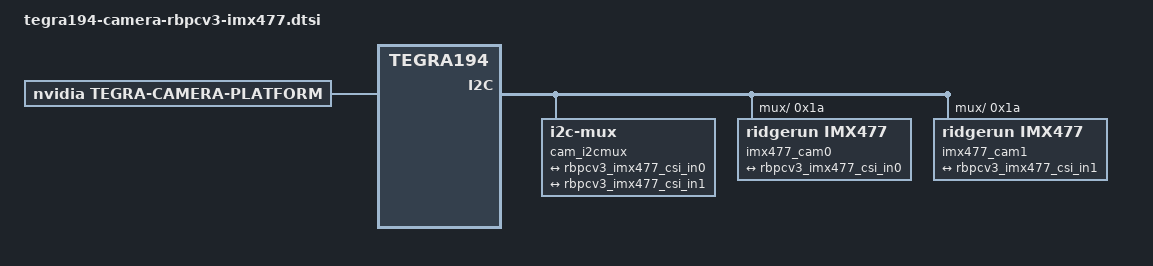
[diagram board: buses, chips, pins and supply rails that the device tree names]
/*
 * Copyright (c) 2021, NVIDIA CORPORATION.  All rights reserved.
 *
 * This program is free software; you can redistribute it and/or modify
 * it under the terms of the GNU General Public License as published by
 * the Free Software Foundation; either version 2 of the License, or
 * (at your option) any later version.
 *
 * This program is distributed in the hope that it will be useful, but WITHOUT
 * ANY WARRANTY; without even the implied warranty of MERCHANTABILITY or
 * FITNESS FOR A PARTICULAR PURPOSE.  See the GNU General Public License for
 * more details.
 *
 * You should have received a copy of the GNU General Public License
 * along with this program.  If not, see <http://www.gnu.org/licenses/>.
 */

/ {
	host1x {
		vi@15c10000 {
			num-channels = <2>;
			ports {
				#address-cells = <1>;
				#size-cells = <0>;
				port@0 {
					reg = <0>;
					rbpcv3_imx477_vi_in0: endpoint {
						port-index = <0>;
						bus-width = <2>;
						remote-endpoint = <&rbpcv3_imx477_csi_out0>;
					};
				};
				port@1 {
					reg = <1>;
					rbpcv3_imx477_vi_in1: endpoint {
						port-index = <4>;
						bus-width = <2>;
						remote-endpoint = <&rbpcv3_imx477_csi_out1>;
					};
				};
			};
		};

		nvcsi@15a00000 {
			num-channels = <2>;
			#address-cells = <1>;
			#size-cells = <0>;
			channel@0 {
				reg = <0>;
				ports {
					#address-cells = <1>;
					#size-cells = <0>;
					port@0 {
						reg = <0>;
						rbpcv3_imx477_csi_in0: endpoint@0 {
							port-index = <0>;
							bus-width = <2>;
							remote-endpoint = <&rbpcv3_imx477_dual_out0>;
						};
					};
					port@1 {
						reg = <1>;
						rbpcv3_imx477_csi_out0: endpoint@1 {
							remote-endpoint = <&rbpcv3_imx477_vi_in0>;
						};
					};
				};
			};
			channel@1 {
				reg = <1>;
				ports {
					#address-cells = <1>;
					#size-cells = <0>;
					port@2 {
						reg = <0>;
						rbpcv3_imx477_csi_in1: endpoint@2 {
							port-index = <2>;
							bus-width = <2>;
							remote-endpoint = <&rbpcv3_imx477_out1>;
						};
					};
					port@3 {
						reg = <1>;
						rbpcv3_imx477_csi_out1: endpoint@3 {
							remote-endpoint = <&rbpcv3_imx477_vi_in1>;
						};
					};
				};
			};
		};
	};

	cam_i2cmux {
		i2c@0 {
			imx477_cam0: rbpcv3_imx477_a@1a {
				compatible = "ridgerun,imx477";
				/* I2C device address */
				reg = <0x1a>;

				/* V4L2 device node location */
				devnode = "video0";

				/* Physical dimensions of sensor */
				physical_w = "3.680";
				physical_h = "2.760";

				sensor_model = "imx477";

				use_sensor_mode_id = "true";

				/**
				* ==== Modes ====
				* A modeX node is required to support v4l2 driver
				* implementation with NVIDIA camera software stack
				*
				* == Signal properties ==
				*
				* phy_mode = "";
				* PHY mode used by the MIPI lanes for this device
				*
				* tegra_sinterface = "";
				* CSI Serial interface connected to tegra
				* Incase of virtual HW devices, use virtual
				* For SW emulated devices, use host
				*
				* pix_clk_hz = "";
				* Sensor pixel clock used for calculations like exposure and framerate
				*
				* readout_orientation = "0";
				* Based on camera module orientation.
				* Only change readout_orientation if you specifically
				* Program a different readout order for this mode
				*
				* == Image format Properties ==
				*
				* active_w = "";
				* Pixel active region width
				*
				* active_h = "";
				* Pixel active region height
				*
				* pixel_t = "";
				* The sensor readout pixel pattern
				*
				* line_length = "";
				* Pixel line length (width) for sensor mode.
				*
				* == Source Control Settings ==
				*
				* Gain factor used to convert fixed point integer to float
				* Gain range [min_gain/gain_factor, max_gain/gain_factor]
				* Gain step [step_gain/gain_factor is the smallest step that can be configured]
				* Default gain [Default gain to be initialized for the control.
				*     use min_gain_val as default for optimal results]
				* Framerate factor used to convert fixed point integer to float
				* Framerate range [min_framerate/framerate_factor, max_framerate/framerate_factor]
				* Framerate step [step_framerate/framerate_factor is the smallest step that can be configured]
				* Default Framerate [Default framerate to be initialized for the control.
				*     use max_framerate to get required performance]
				* Exposure factor used to convert fixed point integer to float
				* For convenience use 1 sec = 1000000us as conversion factor
				* Exposure range [min_exp_time/exposure_factor, max_exp_time/exposure_factor]
				* Exposure step [step_exp_time/exposure_factor is the smallest step that can be configured]
				* Default Exposure Time [Default exposure to be initialized for the control.
				*     Set default exposure based on the default_framerate for optimal exposure settings]
				*
				* gain_factor = ""; (integer factor used for floating to fixed point conversion)
				* min_gain_val = ""; (ceil to integer)
				* max_gain_val = ""; (ceil to integer)
				* step_gain_val = ""; (ceil to integer)
				* default_gain = ""; (ceil to integer)
				* Gain limits for mode
				*
				* exposure_factor = ""; (integer factor used for floating to fixed point conversion)
				* min_exp_time = ""; (ceil to integer)
				* max_exp_time = ""; (ceil to integer)
				* step_exp_time = ""; (ceil to integer)
				* default_exp_time = ""; (ceil to integer)
				* Exposure Time limits for mode (sec)
				*
				* framerate_factor = ""; (integer factor used for floating to fixed point conversion)
				* min_framerate = ""; (ceil to integer)
				* max_framerate = ""; (ceil to integer)
				* step_framerate = ""; (ceil to integer)
				* default_framerate = ""; (ceil to integer)
				* Framerate limits for mode (fps)
				*
				* embedded_metadata_height = "";
				* Sensor embedded metadata height in units of rows.
				* If sensor does not support embedded metadata value should be 0.
				*/
				mode0 { /* IMX477_MODE_3840x2160 */
					mclk_khz = "24000";
					num_lanes = "2";
					tegra_sinterface = "serial_a";
					phy_mode = "DPHY";
					discontinuous_clk = "no";
					dpcm_enable = "false";
					cil_settletime = "0";

					active_w = "3840";
					active_h = "2160";
					mode_type = "bayer";
					pixel_phase = "rggb";
					csi_pixel_bit_depth = "10";
					readout_orientation = "90";
					line_length = "11200";
					inherent_gain = "1";
					mclk_multiplier = "80";
					pix_clk_hz = "840000000";

					gain_factor = "16";
					framerate_factor = "1000000";
					exposure_factor = "1000000";
					min_gain_val = "16"; /* 1.00x */
					max_gain_val = "356"; /* 22x */
					step_gain_val = "1";
					default_gain = "16"; /* 1.00x */
					min_hdr_ratio = "1";
					max_hdr_ratio = "1";
					min_framerate = "2000000"; /* 2.0 fps */
					max_framerate = "30000000"; /* 30.0 fps */
					step_framerate = "1";
					default_framerate = "30000000"; /* 30.0 fps */
					min_exp_time = "13"; /* us */
					max_exp_time = "683709"; /* us */
					step_exp_time = "1";
					default_exp_time = "2495"; /* us */

					embedded_metadata_height = "2";
				};
				mode1 { /* IMX477_MODE_1920X1080 */
					mclk_khz = "24000";
					num_lanes = "2";
					tegra_sinterface = "serial_a";
					phy_mode = "DPHY";
					discontinuous_clk = "no";
					dpcm_enable = "false";
					cil_settletime = "0";

					active_w = "1920";
					active_h = "1080";
					mode_type = "bayer";
					pixel_phase = "rggb";
					csi_pixel_bit_depth = "10";
					readout_orientation = "90";
					line_length = "7000";
					inherent_gain = "1";
					mclk_multiplier = "80";
					pix_clk_hz = "840000000";

					gain_factor = "16";
					framerate_factor = "1000000";
					exposure_factor = "1000000";
					min_gain_val = "16"; /* 1.00x */
					max_gain_val = "356"; /* 22x */
					step_gain_val = "1";
					default_gain = "16"; /* 1.00x */
					min_hdr_ratio = "1";
					max_hdr_ratio = "1";
					min_framerate = "2000000"; /* 2.0 fps */
					max_framerate = "60000000"; /* 60.0 fps */
					step_framerate = "1";
					default_framerate = "60000000"; /* 60.0 fps */
					min_exp_time = "13"; /* us */
					max_exp_time = "683709"; /* us */
					step_exp_time = "1";
					default_exp_time = "2495"; /* us */

					embedded_metadata_height = "2";
				};

				ports {
					#address-cells = <1>;
					#size-cells = <0>;

					port@0 {
						reg = <0>;
						rbpcv3_imx477_dual_out0: endpoint {
							port-index = <0>;
							bus-width = <2>;
							remote-endpoint = <&rbpcv3_imx477_csi_in0>;
						};
					};
				};
			};
		};
		i2c@1 {
			imx477_cam1: rbpcv3_imx477_c@1a {
				compatible = "ridgerun,imx477";
				/* I2C device address */
				reg = <0x1a>;

				/* V4L2 device node location */
				devnode = "video1";

				/* Physical dimensions of sensor */
				physical_w = "3.680";
				physical_h = "2.760";

				sensor_model = "imx477";

				use_sensor_mode_id = "true";

				mode0 { /* IMX477_MODE_3840x2160 */
					mclk_khz = "24000";
					num_lanes = "2";
					tegra_sinterface = "serial_c";
					phy_mode = "DPHY";
					discontinuous_clk = "no";
					dpcm_enable = "false";
					cil_settletime = "0";

					active_w = "3840";
					active_h = "2160";
					mode_type = "bayer";
					pixel_phase = "rggb";
					csi_pixel_bit_depth = "10";
					readout_orientation = "90";
					line_length = "11200";
					inherent_gain = "1";
					mclk_multiplier = "80";
					pix_clk_hz = "840000000";

					gain_factor = "16";
					framerate_factor = "1000000";
					exposure_factor = "1000000";
					min_gain_val = "16"; /* 1.00x */
					max_gain_val = "356"; /* 22x */
					step_gain_val = "1";
					default_gain = "16"; /* 1.00x */
					min_hdr_ratio = "1";
					max_hdr_ratio = "1";
					min_framerate = "2000000"; /* 2.0 fps */
					max_framerate = "30000000"; /* 30.0 fps */
					step_framerate = "1";
					default_framerate = "30000000"; /* 30.0 fps */
					min_exp_time = "13"; /* us */
					max_exp_time = "683709"; /* us */
					step_exp_time = "1";
					default_exp_time = "2495"; /* us */

					embedded_metadata_height = "2";
				};
				mode1 { /* IMX477_MODE_1920X1080 */
					mclk_khz = "24000";
					num_lanes = "2";
					tegra_sinterface = "serial_c";
					phy_mode = "DPHY";
					discontinuous_clk = "no";
					dpcm_enable = "false";
					cil_settletime = "0";

					active_w = "1920";
					active_h = "1080";
					mode_type = "bayer";
					pixel_phase = "rggb";
					csi_pixel_bit_depth = "10";
					readout_orientation = "90";
					line_length = "7000";
					inherent_gain = "1";
					mclk_multiplier = "80";
					pix_clk_hz = "840000000";

					gain_factor = "16";
					framerate_factor = "1000000";
					exposure_factor = "1000000";
					min_gain_val = "16"; /* 1.00x */
					max_gain_val = "356"; /* 22x */
					step_gain_val = "1";
					default_gain = "16"; /* 1.00x */
					min_hdr_ratio = "1";
					max_hdr_ratio = "1";
					min_framerate = "2000000"; /* 2.0 fps */
					max_framerate = "60000000"; /* 60.0 fps */
					step_framerate = "1";
					default_framerate = "60000000"; /* 60.0 fps */
					min_exp_time = "13"; /* us */
					max_exp_time = "683709"; /* us */
					step_exp_time = "1";
					default_exp_time = "2495"; /* us */

					embedded_metadata_height = "2";
				};

				ports {
					#address-cells = <1>;
					#size-cells = <0>;

					port@0 {
						reg = <0>;
						rbpcv3_imx477_out1: endpoint {
							port-index = <2>;
							bus-width = <2>;
							remote-endpoint = <&rbpcv3_imx477_csi_in1>;
						};
					};
				};
			};
		};
	};
};

/ {
	tegra-camera-platform {
		compatible = "nvidia, tegra-camera-platform";

		/**
		* Physical settings to calculate max ISO BW
		*
		* num_csi_lanes = <>;
		* Total number of CSI lanes when all cameras are active
		*
		* max_lane_speed = <>;
		* Max lane speed in Kbit/s
		*
		* min_bits_per_pixel = <>;
		* Min bits per pixel
		*
		* vi_peak_byte_per_pixel = <>;
		* Max byte per pixel for the VI ISO case
		*
		* vi_bw_margin_pct = <>;
		* Vi bandwidth margin in percentage
		*
		* max_pixel_rate = <>;
		* Max pixel rate in Kpixel/s for the ISP ISO case
		*
		* isp_peak_byte_per_pixel = <>;
		* Max byte per pixel for the ISP ISO case
		*
		* isp_bw_margin_pct = <>;
		* Isp bandwidth margin in percentage
		*/
		num_csi_lanes = <4>;
		max_lane_speed = <1500000>;
		min_bits_per_pixel = <10>;
		vi_peak_byte_per_pixel = <2>;
		vi_bw_margin_pct = <25>;
		max_pixel_rate = <7500000>;
		isp_peak_byte_per_pixel = <5>;
		isp_bw_margin_pct = <25>;

		/**
		 * The general guideline for naming badge_info contains 3 parts, and is as follows,
		 * The first part is the camera_board_id for the module; if the module is in a FFD
		 * platform, then use the platform name for this part.
		 * The second part contains the position of the module, ex. "rear" or "front".
		 * The third part contains the last 6 characters of a part number which is found
		 * in the module's specsheet from the vendor.
		 */
		modules {
			module0 {
				badge = "jakku_front_IMX477";
				position = "front";
				orientation = "1";
				drivernode0 {
					pcl_id = "v4l2_sensor";
					devname = "imx477 9-001a";
					proc-device-tree = "/proc/device-tree/cam_i2cmux/i2c@0/rbpcv3_imx477_a@1a";
				};
			};
			module1 {
				badge = "jakku_rear_IMX477";
				position = "rear";
				orientation = "1";
				drivernode0 {
					pcl_id = "v4l2_sensor";
					devname = "imx477 10-001a";
					proc-device-tree = "/proc/device-tree/cam_i2cmux/i2c@1/rbpcv3_imx477_c@1a";
				};
			};
		};
	};
};
